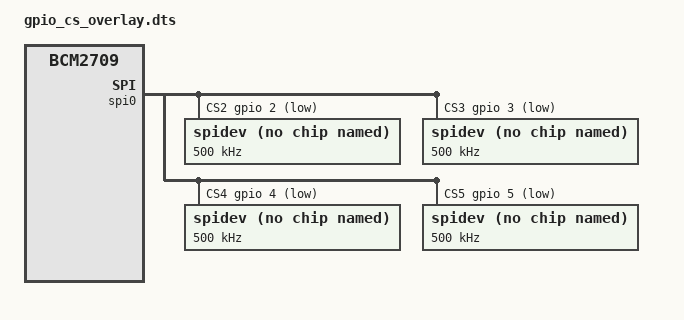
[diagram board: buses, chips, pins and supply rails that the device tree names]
/dts-v1/;
/plugin/;

/ {
   compatible = "brcm,bcm2835", "brcm,bcm2836", "brcm,bcm2708", "brcm,bcm2709";

   fragment@0 {
      target = <&spi0>;
      frag0: __overlay__ {
         #address-cells = <1>;
         #size-cells = <0>;
         pinctrl-0 = <&spi0_pins &spi0_cs_pins>;
         status = "okay";
         cs-gpios = <0>, <0>, <&gpio 2 1>, <&gpio 3 1>, <&gpio 4 1>, <&gpio 5 1>;

         spidev@2{
            compatible = "spidev";
            reg = <2>;   /* CE2 */
            #address-cells = <1>;
            #size-cells = <0>;
            spi-max-frequency = <0x0007a120>;
         };

         spidev@3{
            compatible = "spidev";
            reg = <3>;   /* CE3 */
            #address-cells = <1>;
            #size-cells = <0>;
            spi-max-frequency = <0x0007a120>;
         };
		 
	 spidev@4{
            compatible = "spidev";
            reg = <4>;   /* CE2 */
            #address-cells = <1>;
            #size-cells = <0>;
            spi-max-frequency = <0x0007a120>;
         };

         spidev@5{
            compatible = "spidev";
            reg = <5>;   /* CE3 */
            #address-cells = <1>;
            #size-cells = <0>;
            spi-max-frequency = <0x0007a120>;
         };
      };
   };

   fragment@1 {
      target = <&gpio>;
      __overlay__ {
         spi0_cs_pins: spi0_cs_pins {
            brcm,pins = <2 3 4 5>;
           /* brcm,function = <1>;  out */
         };
      };
   };

   __overrides__ {
      cs2_pin = <&frag0>,"cs-gpios:12", <&spi0_cs_pins>,"brcm,pins:0";
      cs3_pin = <&frag0>,"cs-gpios:24", <&spi0_cs_pins>,"brcm,pins:4";
   };
};
